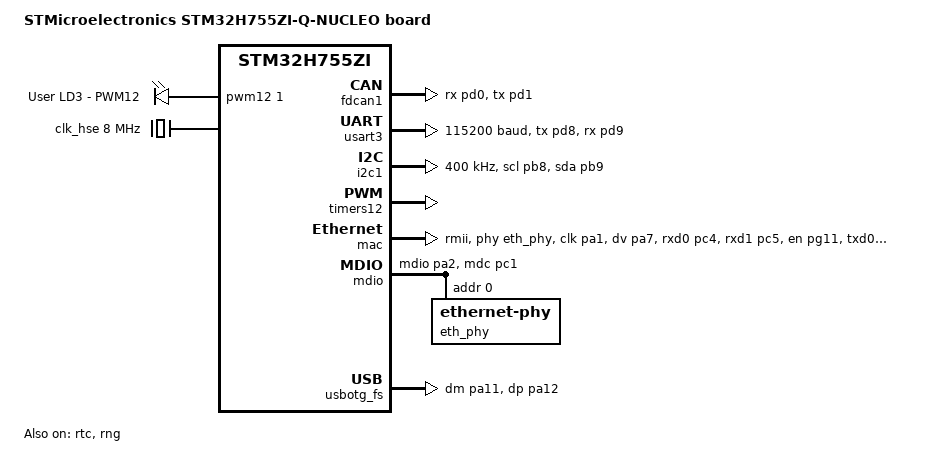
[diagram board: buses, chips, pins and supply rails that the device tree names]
/*
 * Copyright (c) 2024 S&C Electric Company <Michael.Banducci@sandc.com>
 *
 * SPDX-License-Identifier: Apache-2.0
 */

/dts-v1/;
#include <st/h7/stm32h755Xi_m7.dtsi>
#include "nucleo_h755zi_q.dtsi"

/*
 * WARNING:
 * Possible pin conflicts: The pins PA2 and PB13 may conflict on selection of
 * ETH_STM32_HAL, since they are used in ST Zio or ST morpho connectors. To
 * avoid conflicting states the jumpers JP6 and JP7 must be in ON state.
 */

/ {
	model = "STMicroelectronics STM32H755ZI-Q-NUCLEO board";
	compatible = "st,stm32h755zi-q-nucleo";

	/* HW resources belonging to CM7 */
	chosen {
		zephyr,console = &usart3;
		zephyr,shell-uart = &usart3;
		zephyr,dtcm = &dtcm;
		zephyr,sram = &sram0;
		zephyr,flash = &flash0;
		zephyr,canbus = &fdcan1;
	};

	pwmleds {
		compatible = "pwm-leds";

		red_pwm_led: red_pwm_led {
			pwms = <&pwm12 1 PWM_MSEC(20) PWM_POLARITY_NORMAL>;
			label = "User LD3 - PWM12";
		};
	};

	aliases {
		led0 = &green_led;
		pwm-led0 = &red_pwm_led;
		sw0 = &user_button;
	};
};

&clk_lsi {
	status = "okay";
};

&clk_hsi48 {
	status = "okay";
};

&clk_hse {
	hse-bypass;
	clock-frequency = <DT_FREQ_M(8)>; /* STLink 8MHz clock */
	status = "okay";
};

&pll {
	div-m = <1>;
	mul-n = <120>;
	div-p = <2>;
	div-q = <8>;
	div-r = <2>;
	clocks = <&clk_hse>;
	status = "okay";
};

&pll2 {
	div-m = <4>;
	mul-n = <120>;
	div-p = <2>;
	div-q = <3>; /* gives 80MHz to the FDCAN */
	div-r = <2>;
	clocks = <&clk_hse>;
	status = "okay";
};

&fdcan1 {
	clocks = <&rcc STM32_CLOCK_BUS_APB1_2 0x00000100>,
		 <&rcc STM32_SRC_PLL2_Q FDCAN_SEL(2)>;
	pinctrl-0 = <&fdcan1_rx_pd0 &fdcan1_tx_pd1>;
	pinctrl-names = "default";
	status = "okay";
};

&rcc {
	clocks = <&pll>;
	clock-frequency = <DT_FREQ_M(480)>;
};

&usart3 {
	pinctrl-0 = <&usart3_tx_pd8 &usart3_rx_pd9>;
	pinctrl-names = "default";
	current-speed = <115200>;
	status = "okay";
};

&rtc {
	clocks = <&rcc STM32_CLOCK_BUS_APB4 0x00010000>,
		 <&rcc STM32_SRC_LSI RTC_SEL(2)>;
	status = "okay";
};

&i2c1 {
	pinctrl-0 = <&i2c1_scl_pb8 &i2c1_sda_pb9>;
	pinctrl-names = "default";
	status = "okay";
	clock-frequency = <I2C_BITRATE_FAST>;
};

&timers12 {
	st,prescaler = <10000>;
	status = "okay";

	pwm12: pwm {
		status = "okay";
		pinctrl-0 = <&tim12_ch1_pb14>;
		pinctrl-names = "default";
	};
};

&mac {
	status = "okay";
	pinctrl-0 = <&eth_ref_clk_pa1
		     &eth_crs_dv_pa7
		     &eth_rxd0_pc4
		     &eth_rxd1_pc5
		     &eth_tx_en_pg11
		     &eth_txd0_pg13
		     &eth_txd1_pb13>;
	pinctrl-names = "default";
	phy-connection-type = "rmii";
	phy-handle = <&eth_phy>;
};

&mdio {
	status = "okay";
	pinctrl-0 = <&eth_mdio_pa2 &eth_mdc_pc1>;
	pinctrl-names = "default";

	eth_phy: ethernet-phy@0 {
		compatible = "ethernet-phy";
		reg = <0x00>;
	};
};

&rng {
	status = "okay";
};

zephyr_udc0: &usbotg_fs {
	pinctrl-0 = <&usb_otg_fs_dm_pa11 &usb_otg_fs_dp_pa12>;
	pinctrl-names = "default";
	status = "okay";
};
